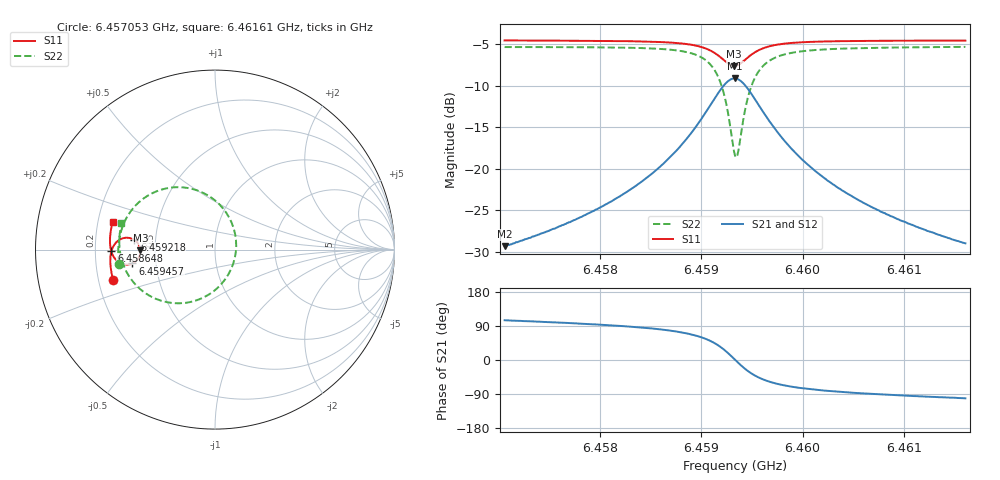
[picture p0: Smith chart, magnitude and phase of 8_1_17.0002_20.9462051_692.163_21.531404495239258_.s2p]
#  HZ  S  RI  R  50.00
! Rohde & Schwarz Vector Network Analyzer
! Rohde-Schwarz,ZNB20-2Port,1311601062101988,3.16
! Created: UTC 3/20/2024, 10:52:21 PM
! freq[Hz]  re:S11  im:S11  re:S21  im:S21  re:S12  im:S12  re:S22  im:S22
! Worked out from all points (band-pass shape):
!   401 points, 6.457053 GHz to 6.46161 GHz, reference 50 ohm
!   highest |S21| = -9.13 dB at 6.459332 GHz (marker M1); lowest = -29.3 dB at 6.457053 GHz (marker M2)
!   |S21| within 3 dB of the highest: 6.4591 GHz to 6.459555 GHz (455.3 kHz wide, 0.00705 % of centre)
!   lowest |S11| = -7.6 dB at 6.45932 GHz (marker M3), VSWR 2.42, Z = 20.6 - j0.193 ohm
!   |S11| at or under -10 dB: nowhere
!   |S22| runs from -18.7 to -5.3 dB; largest |S21 - S12| = 0.014
!   S11 on the Smith chart (normalised r, x): 6.457053 GHz: 0.26, -0.14; 6.458648 GHz: 0.27, -0.01; 6.459218 GHz: 0.38, +0.05; 6.459457 GHz: 0.37, -0.07; 6.46161 GHz: 0.26, +0.12
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6.4570533e9  -0.5675 -0.1679  -0.00877 0.0329  -0.00692 0.0329  -0.5344 -0.0776
6.4578166e9  -0.581 -0.1008  -0.00524 0.051  -0.00265 0.0505  -0.5386 0.0125
6.4582154e9  -0.5836 -0.0608  0.00058 0.0694  0.00365 0.0681  -0.5305 0.0759
6.45858e9  -0.5793 -0.0171  0.0155 0.1001  0.0193 0.0974  -0.5027 0.1583
6.4586483e9  -0.577 -0.00755  0.0209 0.1085  0.0251 0.1055  -0.492 0.1784
6.458842e9  -0.5638 0.0231  0.0486 0.1399  0.0526 0.1351  -0.4402 0.2481
6.4589901e9  -0.5402 0.0493  0.0955 0.1706  0.0987 0.1638  -0.3532 0.3122
6.4591268e9  -0.4948 0.0661  0.1857 0.1855  0.1867 0.1782  -0.1882 0.3474
6.4592179e9  -0.4495 0.0539  0.277 0.1504  0.2779 0.1443  -0.0189 0.2886
6.4592749e9  -0.4246 0.027  0.3283 0.0901  0.3308 0.0841  0.0787 0.1791
6.4593205e9  -0.4156 -0.00387  0.3485 0.0227  0.3522 0.0153  0.1168 0.0535
6.4593319e9  -0.4156 -0.0121  0.3493 0.00488  0.3532 -0.00328  0.1182 0.0195
6.4593661e9  -0.4205 -0.0358  0.341 -0.0479  0.3446 -0.0582  0.101 -0.0799
6.4594116e9  -0.4374 -0.0614  0.3099 -0.1065  0.3114 -0.1194  0.0371 -0.19
6.4594572e9  -0.4602 -0.077  0.2664 -0.1458  0.2645 -0.1596  -0.0512 -0.2601
6.4595483e9  -0.5036 -0.0825  0.1812 -0.1738  0.1743 -0.1853  -0.2201 -0.2986
6.4596964e9  -0.547 -0.0612  0.0944 -0.1581  0.0855 -0.164  -0.3842 -0.2449
6.4598559e9  -0.5681 -0.0335  0.0502 -0.1296  0.0425 -0.1322  -0.4624 -0.1718
6.4600952e9  -0.5807 0.00209  0.0215 -0.0978  0.0157 -0.0982  -0.5089 -0.0891
6.4604484e9  -0.5852 0.044  0.00561 -0.0701  0.00142 -0.0696  -0.5297 -0.00801
6.4608585e9  -0.5831 0.0852  -0.00166 -0.0523  -0.00465 -0.0513  -0.5329 0.0577
6.4616104e9  -0.571 0.152  -0.00682 -0.0348  -0.0085 -0.0339  -0.5211 0.1469
